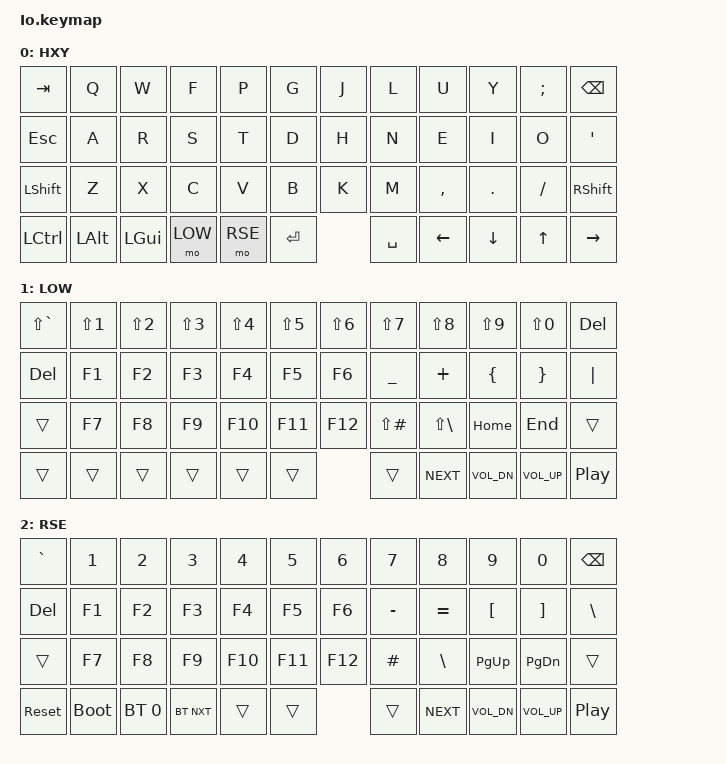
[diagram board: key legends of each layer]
#include <behaviors.dtsi>
#include <dt-bindings/zmk/keys.h>
#include <dt-bindings/zmk/bt.h>
#include <dt-bindings/zmk/outputs.h>
#include "48keys.h"

&sk {
  release-after-ms = <STICKY_KEY_TIMEOUT>;
};

&caps_word {
  continue-list = <UNDERSCORE MINUS BACKSPACE>;
};

&kscan0 {
  debounce-period = <14>;
};

/ {
  behaviors {

    skq: sticky_key_quick_release {
      compatible = "zmk,behavior-sticky-key";
      label = "STICKY_KEY_QUICK_RELEASE";
      #binding-cells = <1>;
      bindings = <&kp>;
      quick-release;
      release-after-ms = <STICKY_KEY_TIMEOUT>;
    };

    // Sticky key on tap, normal key on hold
    // Useful for modifier-clicking without the modifier remaining active
    nk: not_so_sticky_key {
      compatible = "zmk,behavior-hold-tap";
      label = "NOT_SO_STICKY_KEY";
      #binding-cells = <2>;
      tapping_term_ms = <200>;
      flavor = "tap-preferred";
      bindings = <&kp>, <&sk>;
    };

    // A hold-tap that activates without delay (like `&mo`)
    mo_tap: mo_with_tap {
      compatible = "zmk,behavior-hold-tap";
      label = "MO_WITH_TAP";
      #binding-cells = <2>;
      tapping_term_ms = <0>;
      retro-tap;
      flavor = "hold-preferred";
      bindings = <&mo>, <&kp>;
    };
  };

  /*
    LAYERS
      &mo - Momentary Layer switch
      &lt - Layer Tap - Enable layer when held, key when tapped
      &to - Enable layer permanently, disables all others but base
      &tog - Toggle layer until manually disabled

    OTHERS
      &kp - Key press, nothing more
      &mt - Mod-Tap - Key if held, different key if tapped
      &sk - Sticky Key - Key is pressed until another key is pressed (e.g sticky shift)
      &sl - Sticky layer - Same as &sk but with layers

  */

  keymap {
    compatible = "zmk,keymap";

    base_layer {
      // ------------------------------------------------------------------------------------------
      // |  TAB  |  Q   |  W   |  F   |  P   |  G   |   J   |  L    |  U   |  Y   |   ;   | BSPC  |
      // |  ESC  |  A   |  R   |  S   |  T   |  D   |   H   |  N    |  E   |  I   |   O   |  '    |
      // | SHIFT |  Z   |  X   |  C   |  V   |  B   |   K   |  M    |  ,   |  .   |   /   | SHIFT |
      // |  LCTL | LALT | LGUI | LOWR | RAIS |     RET      | SPACE | LARW | DARW | UARW  |  RARW |
      label = "HXY";
      bindings = <
          &kp TAB   &kp Q    &kp W    &kp F    &kp P   &kp G  &kp J  &kp L   &kp U     &kp Y    &kp SEMI  &kp BSPC
          &kp ESC   &kp A    &kp R    &kp S    &kp T   &kp D  &kp H  &kp N   &kp E     &kp I    &kp O     &kp SQT
          &kp LSHFT &kp Z    &kp X    &kp C    &kp V   &kp B  &kp K  &kp M   &kp COMMA &kp DOT  &kp SLASH &kp RSHFT
          &kp LCTL  &kp LALT &kp LGUI &mo LOW  &mo RSE   &kp RET   &kp SPACE &kp LEFT  &kp DOWN &kp UP    &kp RIGHT
      >;
    };

    low_layer {
      // ----------------------------------------------------------------------------------------
      // |   ~   |  !   |  @   |  #   |  $   |  %   |  ^   |  &    |  *   |  (   |  )   |  DEL  |
      // |  DEL  |  F1  |  F2  |  F3  |  F4  |  F5  |  F6  |  _    |  +   |  [   |  ]   |   |   |
      // | SHIFT |  F7  |  F8  |  F9  |  F10 |  F11 |  F12 |  #    |  |   | HOME | END  |  RET  |
      // |  LCTL | LALT | LGUI | LOWR | RAIS |     RET     | SPACE | NEXT | VOLD | VOLU | PL/PA |
      label = "LOW";
      bindings = <
        &kp LS(GRAVE) &kp LS(N1) &kp LS(N2) &kp LS(N3) &kp LS(N4) &kp LS(N5) &kp LS(N6) &kp LS(N7)   &kp LS(N8)   &kp LS(N9)   &kp LS(N0)   &kp DEL
        &kp DEL       &kp F1     &kp F2     &kp F3     &kp F4     &kp F5     &kp F6     &kp UNDER    &kp PLUS     &kp LBRC     &kp RBRC     &kp PIPE
        &trans        &kp F7     &kp F8     &kp F9     &kp F10    &kp F11    &kp F12    &kp LS(HASH) &kp LS(BSLH) &kp HOME     &kp END      &trans
        &trans        &trans     &trans     &trans     &trans           &trans          &trans       &kp C_NEXT   &kp C_VOL_DN &kp C_VOL_UP &kp C_PP
      >;
    };

    rse_layer {
      // ----------------------------------------------------------------------------------------
      // |   `   |  1   |  2   |  3   |  4   |  5   |  6   |  7    |  8   |  9   |  0   |  BSPC |
      // |  DEL  |  F1  |  F2  |  F3  |  F4  |  F5  |  F6  |  -    |  =   |  {   |  }   |   \   |
      // | SHIFT |  F7  |  F8  |  F9  |  F10 |  F11 |  F12 |  #    |  |   | PGUP | PGDN |  RET  |
      // | RESET | BOOT | BT 0 | BT N | RAIS |     RET     | SPACE | NEXT | VOLD | VOLU | PL/PA |
      label = "RSE";
      bindings = <
        &kp GRAVE  &kp N1      &kp N2 &kp N3 &kp N4  &kp N5  &kp N6  &kp N7    &kp N8     &kp N9       &kp N0       &kp BSPC
        &kp DEL    &kp F1      &kp F2 &kp F3 &kp F4  &kp F5  &kp F6  &kp MINUS &kp EQUAL  &kp LBKT     &kp RBKT     &kp BSLH
        &trans     &kp F7      &kp F8 &kp F9 &kp F10 &kp F11 &kp F12 &kp HASH  &kp BSLH   &kp PG_UP    &kp PG_DN    &trans
        &sys_reset &bootloader &bt BT_SEL 0 &bt BT_NXT &trans        &trans    &trans    &kp C_NEXT &kp C_VOL_DN &kp C_VOL_UP &kp C_PP
      >;
    };
  };
};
